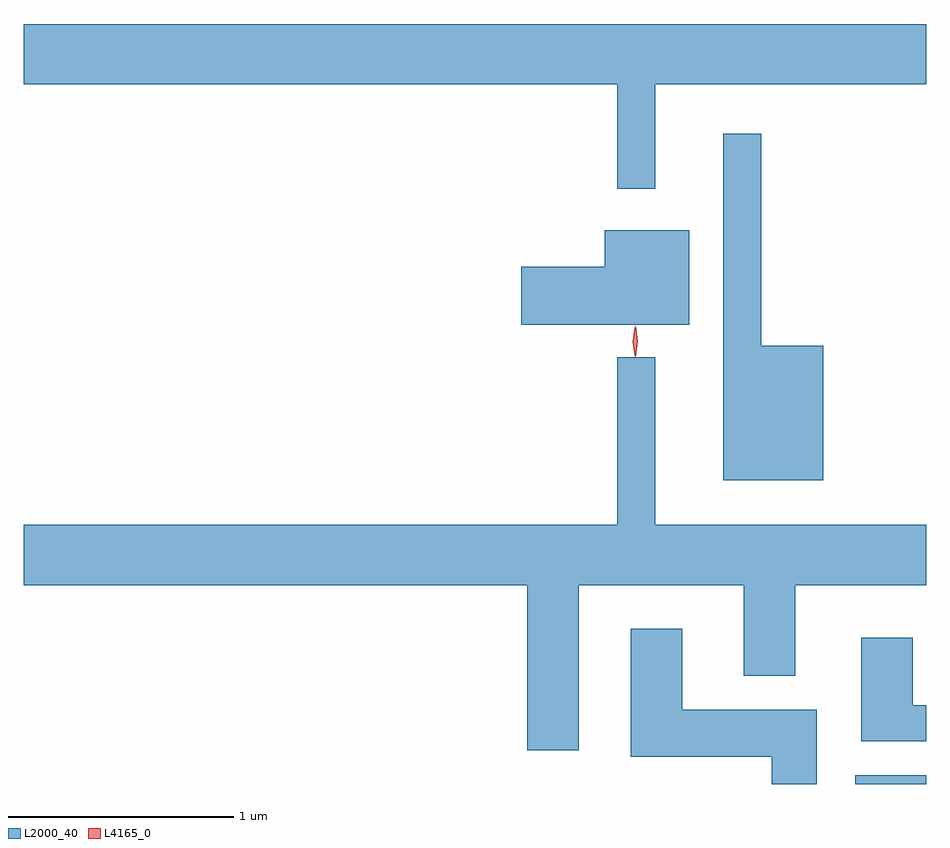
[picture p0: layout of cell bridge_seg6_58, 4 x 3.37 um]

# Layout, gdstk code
import gdstk
lib = gdstk.Library(unit=1e-6, precision=1e-09)
def R(c, l, rs):  # rectangles x0, y0, x1, y1
    for r in rs: c.add(gdstk.rectangle(r[:2], r[2:], *l))
def P(c, l, *ps):  # polygons
    for p in ps: c.add(gdstk.Polygon(p, *l))
L2000_40 = (2000, 40)
L4165_0 = (4165, 0)

bridge_seg6_58 = lib.new_cell('bridge_seg6_58')
R(bridge_seg6_58, L2000_40, [(1667.546,1580.236,1667.86,1580.274)])
P(bridge_seg6_58, L2000_40, [(1666.659,1583.336),(1667.86,1583.336),(1667.86,1583.604),(1663.86,1583.604),(1663.86,1583.336),(1666.491,1583.336),(1666.491,1582.873),(1666.659,1582.873)],
  [(1667.404,1582.179),(1667.129,1582.179),(1667.129,1583.118),(1666.961,1583.118),(1666.961,1581.581),(1667.404,1581.581)],
  [(1666.809,1582.689),(1666.436,1582.689),(1666.436,1582.529),(1666.066,1582.529),(1666.066,1582.271),(1666.809,1582.271)],
  [(1666.319,1581.116),(1667.051,1581.116),(1667.051,1580.716),(1667.279,1580.716),(1667.279,1581.116),(1667.86,1581.116),(1667.86,1581.384),(1666.659,1581.384),(1666.659,1582.128),(1666.491,1582.128),(1666.491,1581.384),(1663.86,1581.384),(1663.86,1581.116),(1666.091,1581.116),(1666.091,1580.386),(1666.319,1580.386)],
  [(1667.374,1580.564),(1666.779,1580.564),(1666.779,1580.924),(1666.551,1580.924),(1666.551,1580.356),(1667.176,1580.356),(1667.176,1580.236),(1667.374,1580.236)],
  [(1667.86,1580.584),(1667.799,1580.584),(1667.799,1580.884),(1667.571,1580.884),(1667.571,1580.426),(1667.86,1580.426)])
P(bridge_seg6_58, L4165_0, [(1666.569,1582.133),(1666.569,1582.134),(1666.559,1582.196),(1666.568,1582.26),(1666.569,1582.26),(1666.569,1582.26),(1666.579,1582.196),(1666.57,1582.134)],
  [(1666.572,1582.13),(1666.572,1582.13),(1666.562,1582.198),(1666.572,1582.266),(1666.572,1582.266),(1666.573,1582.266),(1666.582,1582.198),(1666.573,1582.13)])

lib.write_gds('bridge_seg6_58.gds')
